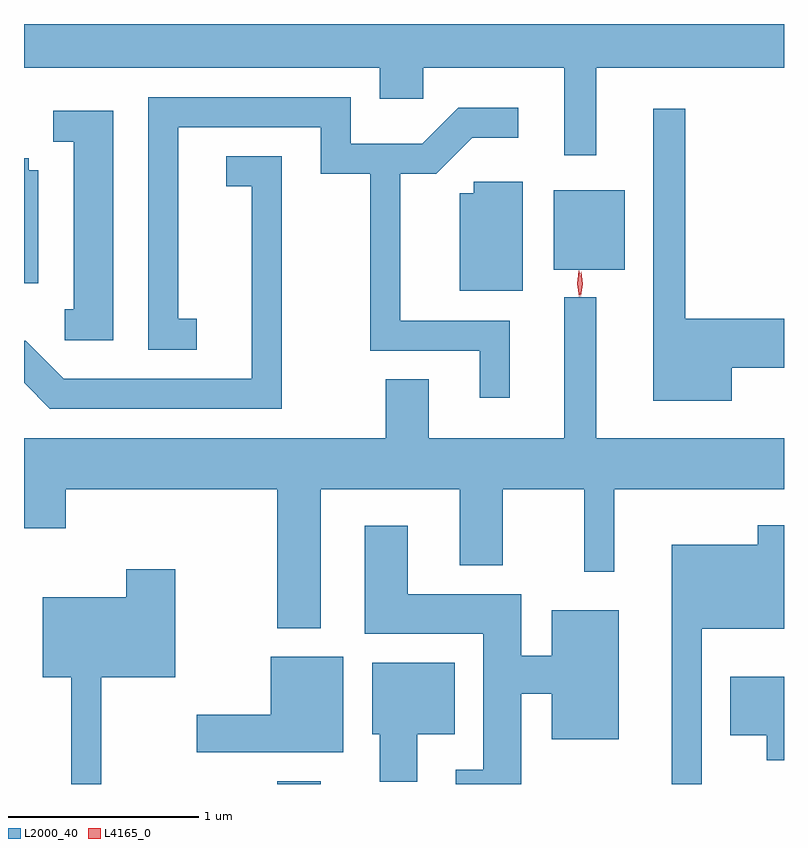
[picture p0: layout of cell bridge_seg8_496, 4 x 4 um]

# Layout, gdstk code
import gdstk
lib = gdstk.Library(unit=1e-6, precision=1e-09)
def R(c, l, rs):  # rectangles x0, y0, x1, y1
    for r in rs: c.add(gdstk.rectangle(r[:2], r[2:], *l))
def P(c, l, *ps):  # polygons
    for p in ps: c.add(gdstk.Polygon(p, *l))
L2000_40 = (2000, 40)
L4165_0 = (4165, 0)

bridge_seg8_496 = lib.new_cell('bridge_seg8_496')
R(bridge_seg8_496, L2000_40, [(330.391,1908.125,330.619,1908.139), (331.846,1910.831,332.219,1911.249)])
P(bridge_seg8_496, L2000_40, [(332.069,1911.896),(333.058,1911.896),(333.058,1912.125),(329.058,1912.125),(329.058,1911.896),(330.931,1911.896),(330.931,1911.731),(331.159,1911.731),(331.159,1911.896),(331.901,1911.896),(331.901,1911.433),(332.069,1911.433)],
  [(331.614,1910.564),(331.039,1910.564),(331.039,1911.336),(331.227,1911.336),(331.417,1911.526),(331.658,1911.526),(331.658,1911.684),(331.344,1911.684),(331.154,1911.494),(330.779,1911.494),(330.779,1911.739),(329.711,1911.739),(329.711,1910.411),(329.968,1910.411),(329.968,1910.574),(329.869,1910.574),(329.869,1911.581),(330.621,1911.581),(330.621,1911.336),(330.881,1911.336),(330.881,1910.406),(331.456,1910.406),(331.456,1910.158),(331.614,1910.158)],
  [(332.784,1910.316),(333.058,1910.316),(333.058,1910.574),(332.539,1910.574),(332.539,1911.678),(332.371,1911.678),(332.371,1910.141),(332.784,1910.141)],
  [(329.529,1911.669),(329.213,1911.669),(329.213,1911.506),(329.321,1911.506),(329.321,1910.624),(329.273,1910.624),(329.273,1910.461),(329.529,1910.461)],
  [(330.414,1911.429),(330.123,1911.429),(330.123,1911.271),(330.256,1911.271),(330.256,1910.259),(329.267,1910.259),(329.067,1910.459),(329.058,1910.459),(329.058,1910.237),(329.194,1910.101),(330.414,1910.101)],
  [(329.134,1911.354),(329.084,1911.354),(329.084,1911.419),(329.058,1911.419),(329.058,1910.761),(329.134,1910.761)],
  [(331.684,1911.294),(331.426,1911.294),(331.426,1911.234),(331.351,1911.234),(331.351,1910.721),(331.684,1910.721)],
  [(330.619,1909.676),(331.351,1909.676),(331.351,1909.276),(331.579,1909.276),(331.579,1909.676),(332.006,1909.676),(332.006,1909.243),(332.164,1909.243),(332.164,1909.676),(333.058,1909.676),(333.058,1909.944),(332.069,1909.944),(332.069,1910.688),(331.901,1910.688),(331.901,1909.944),(331.189,1909.944),(331.189,1910.254),(330.961,1910.254),(330.961,1909.944),(329.058,1909.944),(329.058,1909.471),(329.279,1909.471),(329.279,1909.676),(330.391,1909.676),(330.391,1908.946),(330.619,1908.946)],
  [(332.624,1908.941),(333.058,1908.941),(333.058,1909.488),(332.921,1909.488),(332.921,1909.384),(332.466,1909.384),(332.466,1908.125),(332.624,1908.125)],
  [(331.674,1908.601),(331.836,1908.601),(331.836,1908.361),(332.189,1908.361),(332.189,1909.039),(331.836,1909.039),(331.836,1908.799),(331.674,1908.799),(331.674,1909.124),(331.079,1909.124),(331.079,1909.484),(330.851,1909.484),(330.851,1908.916),(331.476,1908.916),(331.476,1908.199),(331.331,1908.199),(331.331,1908.125),(331.674,1908.125)],
  [(329.464,1908.686),(329.854,1908.686),(329.854,1909.254),(329.596,1909.254),(329.596,1909.109),(329.156,1909.109),(329.156,1908.686),(329.306,1908.686),(329.306,1908.125),(329.464,1908.125)],
  [(330.739,1908.794),(330.356,1908.794),(330.356,1908.489),(329.966,1908.489),(329.966,1908.291),(330.739,1908.291)],
  [(331.129,1908.386),(331.324,1908.386),(331.324,1908.764),(330.891,1908.764),(330.891,1908.386),(330.931,1908.386),(330.931,1908.136),(331.129,1908.136)],
  [(333.058,1908.689),(332.776,1908.689),(332.776,1908.381),(332.966,1908.381),(332.966,1908.251),(333.058,1908.251)])
P(bridge_seg8_496, L4165_0, [(331.98,1910.689),(331.98,1910.69),(331.97,1910.758),(331.979,1910.826),(331.98,1910.826),(331.98,1910.826),(331.99,1910.758),(331.981,1910.69)],
  [(331.988,1910.693),(331.988,1910.693),(331.979,1910.757),(331.99,1910.821),(331.99,1910.822),(331.991,1910.821),(331.999,1910.757),(331.988,1910.693)])

lib.write_gds('bridge_seg8_496.gds')
